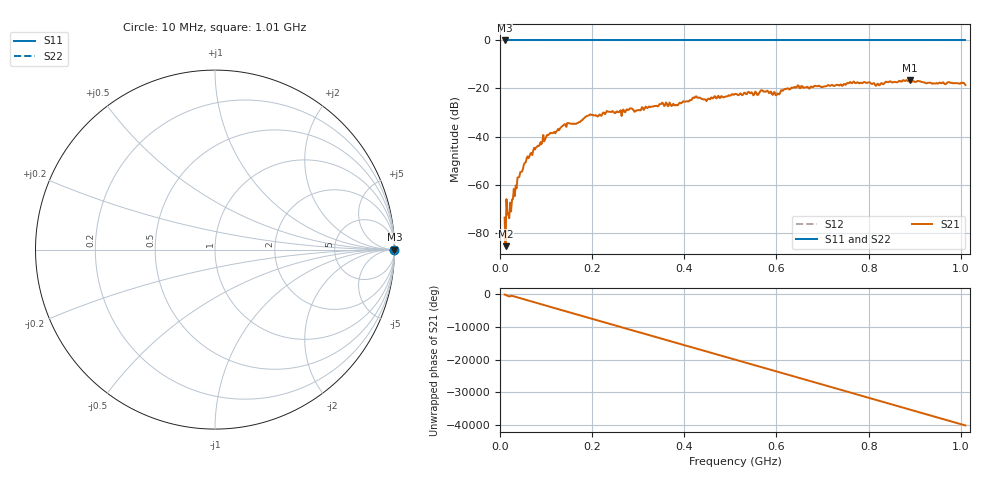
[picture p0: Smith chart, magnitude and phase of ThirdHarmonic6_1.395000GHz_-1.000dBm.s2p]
! 8/16/2025 3:55:25 PM
! C:\ANRITSUVNA\TEMP\TEMP.S2P
! CHANNEL.1
! TR.MEASUREMENT
! RAW.DATA
! RF.CORRECTION.OFF
! AVERAGING.OFF
! IF.BANDWIDTH: 5KHZ
! SWEEPTYPE:  FREQ.SWEEP(Linear)
! Reference Plane Port Info
! PORT:  PORT1  PORT2
! DISTANCE:  0  m  0  m
! TIME:  0  s  0  s
! PHASE.OFFSET:  0  deg.  0  deg.
! LOSS:  0  dB  0  dB
! REF.LOSS:  0  dB  0  dB
! REF.FREQ:  0  Hz  0  Hz
! Power Info
! POWER:  -20  dBm  -20  dBm
! EFF.POWER:  -20  dBm  -20  dBm
! SOURCE.ATTEN:  0  dB  0  dB
! TEST.ATTEN:  0  dB  0  dB
# GHZ S RI R 50.0
! FREQ.GHZ  S11RE  S11IM  S21RE  S21IM  S12RE  S12IM  S22RE  S22IM
!; PortSelection: Port_12
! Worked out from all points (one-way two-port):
!   501 points, 10 MHz to 1.01 GHz, reference 50 ohm
!   highest |S21| = -16.42 dB at 890 MHz (marker M1); lowest = -85.7 dB at 12 MHz (marker M2)
!   lowest |S11| = 0.0 dB at 10 MHz (marker M3)
!   |S11| at or under -10 dB: nowhere
!   |S22| runs from 0.0 to 0.0 dB; largest |S21 - S12| = 1.1
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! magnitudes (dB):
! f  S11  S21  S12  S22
! 10 MHz  0.0  -73.8  0.0  0.0
! 12 MHz  0.0  -85.7  0.0  0.0
! 16 MHz  0.0  -72.4  0.0  0.0
! 18 MHz  0.0  -71.8  0.0  0.0
! 20 MHz  0.0  -74.0  0.0  0.0
! 42 MHz  0.0  -56.8  0.0  0.0
! 62 MHz  0.0  -49.0  0.0  0.0
! 106 MHz  0.0  -39.2  0.0  0.0
! 178 MHz  0.0  -33.3  0.0  0.0
! 194 MHz  0.0  -31.0  0.0  0.0
! 344 MHz  0.0  -27.3  0.0  0.0
! 382 MHz  0.0  -26.7  0.0  0.0
! 422 MHz  0.0  -23.9  0.0  0.0
! 446 MHz  0.0  -24.6  0.0  0.0
! 510 MHz  0.0  -22.3  0.0  0.0
! 570 MHz  0.0  -21.0  0.0  0.0
! 602 MHz  0.0  -22.0  0.0  0.0
! 622 MHz  0.0  -20.2  0.0  0.0
! 678 MHz  0.0  -19.5  0.0  0.0
! 844 MHz  0.0  -17.2  0.0  0.0
! 890 MHz  0.0  -16.4  0.0  0.0
! 1.01 GHz  0.0  -18.6  0.0  0.0
